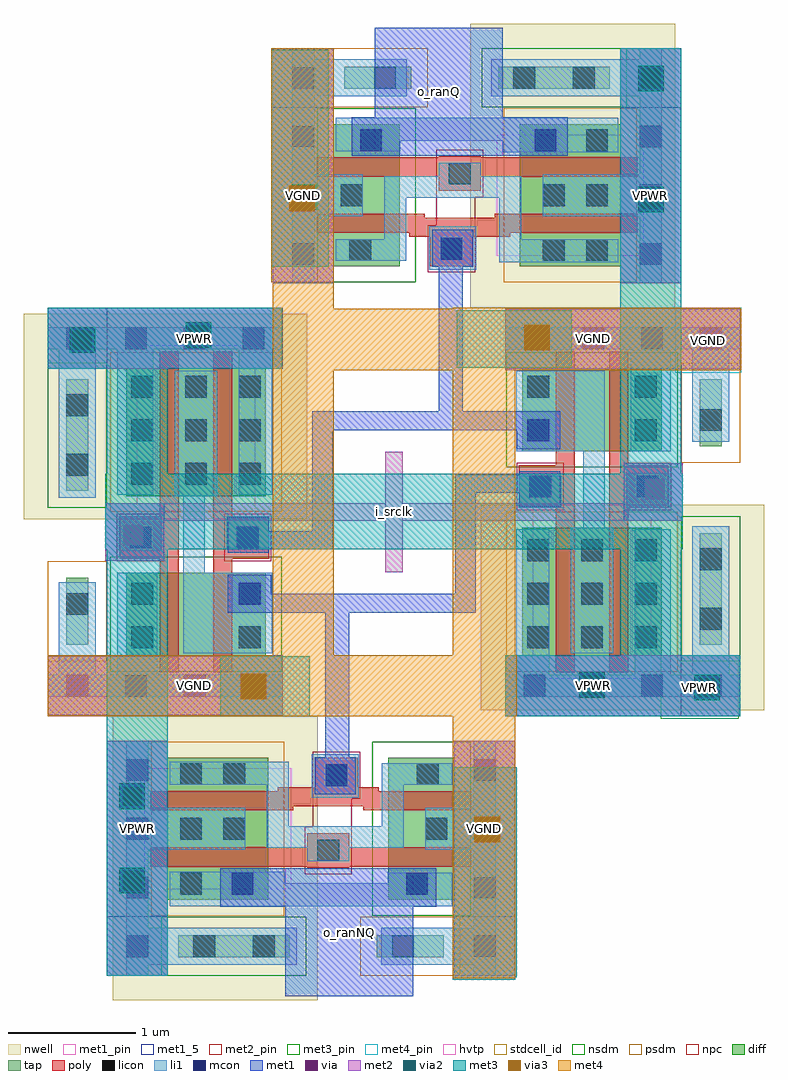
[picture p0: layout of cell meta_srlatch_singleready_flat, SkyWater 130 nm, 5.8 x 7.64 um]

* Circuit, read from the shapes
.subckt meta_srlatch_singleready_flat VGND VPWR i_srclk o_ranNQ o_ranQ
XM1 n1 i_srclk VGND VGND sky130_fd_pr__nfet_01v8 w=0.65 l=0.15
XM2 n2 n3 n1 VGND sky130_fd_pr__nfet_01v8 w=0.65 l=0.15
XM3 VGND n3 n4 VGND sky130_fd_pr__nfet_01v8 w=0.52 l=0.15
XM4 o_ranQ n4 VGND VGND sky130_fd_pr__nfet_01v8 w=0.52 l=0.15
XM5 VGND n5 o_ranNQ VGND sky130_fd_pr__nfet_01v8 w=0.52 l=0.15
XM6 n5 n2 VGND VGND sky130_fd_pr__nfet_01v8 w=0.52 l=0.15
XM7 n6 n2 n3 VGND sky130_fd_pr__nfet_01v8 w=0.65 l=0.15
XM8 VGND i_srclk n6 VGND sky130_fd_pr__nfet_01v8 w=0.65 l=0.15
XM9 n2 i_srclk VPWR VPWR sky130_fd_pr__pfet_01v8_hvt w=1 l=0.15
XM10 VPWR n5 o_ranNQ VPWR sky130_fd_pr__pfet_01v8_hvt w=0.79 l=0.15
XM11 n5 n2 VPWR VPWR sky130_fd_pr__pfet_01v8_hvt w=0.79 l=0.15
XM12 VPWR n3 n2 VPWR sky130_fd_pr__pfet_01v8_hvt w=1 l=0.15
XM13 VPWR n3 n4 VPWR sky130_fd_pr__pfet_01v8_hvt w=0.79 l=0.15
XM14 o_ranQ n4 VPWR VPWR sky130_fd_pr__pfet_01v8_hvt w=0.79 l=0.15
XM15 n3 n2 VPWR VPWR sky130_fd_pr__pfet_01v8_hvt w=1 l=0.15
XM16 VPWR i_srclk n3 VPWR sky130_fd_pr__pfet_01v8_hvt w=1 l=0.15
.ends

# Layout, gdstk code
import gdstk
lib = gdstk.Library(unit=1e-6, precision=1e-09)
def R(c, l, rs):  # rectangles x0, y0, x1, y1
    for r in rs: c.add(gdstk.rectangle(r[:2], r[2:], *l))
def A(c, l, x, y, w, h, nx, ny, dx, dy):  # array of equal rectangles
    R(c, l, [(x+i*dx, y+j*dy, x+i*dx+w, y+j*dy+h) for i in range(nx) for j in range(ny)])
nwell = (64, 20)
diff = (65, 20)
tap = (65, 44)
poly = (66, 20)
licon = (66, 44)
li1 = (67, 20)
mcon = (67, 44)
met1_5 = (68, 5)
met1_pin = (68, 16)
met1 = (68, 20)
via = (68, 44)
met2_pin = (69, 16)
met2 = (69, 20)
via2 = (69, 44)
met3_pin = (70, 16)
met3 = (70, 20)
via3 = (70, 44)
met4_pin = (71, 16)
met4 = (71, 20)
hvtp = (78, 44)
stdcell_id = (81, 4)
nsdm = (93, 44)
psdm = (94, 20)
npc = (95, 20)

meta_srlatch_singleready = lib.new_cell('meta_srlatch_singleready_flat')
R(meta_srlatch_singleready, nwell, [(-1.16,-0.25,0.445,1.97), (1.72,2.02,3.94,3.625), (-1.86,3.515,0.36,5.12), (1.635,5.17,3.24,7.39)])
R(meta_srlatch_singleready, diff, [(-0.735,0.535,0.055,1.645), (0.995,0.535,1.515,1.645), (-1.055,2.445,0.035,3.095), (2.045,2.445,3.135,3.445), (-1.055,3.695,0.035,4.695), (2.045,4.045,3.135,4.695), (0.565,5.495,1.085,6.605), (2.025,5.495,2.815,6.605)])
R(meta_srlatch_singleready, tap, [(-0.65,0.085,0.225,0.255), (0.905,0.085,1.43,0.255), (-1.525,2.53,-1.355,3.055), (3.435,2.53,3.605,3.405), (-1.525,3.735,-1.355,4.61), (3.435,4.085,3.605,4.61), (0.65,6.885,1.175,7.055), (1.855,6.885,2.73,7.055)])
R(meta_srlatch_singleready, poly, [(0.36,0.785,0.69,0.795), (-0.865,0.795,1.645,0.945), (0.36,0.945,0.69,1.055), (-0.865,1.235,0.25,1.265), (0.8,1.235,1.645,1.265), (-0.865,1.265,1.645,1.385), (0.13,1.385,0.92,1.415), (0.425,1.415,0.755,1.645), (-0.795,2.315,-0.645,3.205), (-0.375,2.315,-0.225,3.205), (2.305,2.315,2.455,3.605), (2.725,2.315,2.875,3.605), (-1.105,3.205,-0.645,3.535), (-0.375,3.205,0.065,3.535), (-0.795,3.535,-0.645,4.825), (-0.375,3.535,-0.225,4.825), (2.015,3.605,2.455,3.935), (2.725,3.605,3.185,3.935), (2.305,3.935,2.455,4.825), (2.725,3.935,2.875,4.825), (1.325,5.495,1.655,5.725), (1.16,5.725,1.95,5.755), (0.435,5.755,2.945,5.875), (0.435,5.875,1.28,5.905), (1.83,5.875,2.945,5.905), (1.39,6.085,1.72,6.195), (0.435,6.195,2.945,6.345), (1.39,6.345,1.72,6.355)])
A(meta_srlatch_singleready, licon, -0.635, 0.575, 0.17, 0.17, 1, 3, 0, 0.43)
A(meta_srlatch_singleready, licon, 2.085, 2.505, 0.17, 0.17, 3, 3, 0.42, 0.34)
A(meta_srlatch_singleready, licon, -1.015, 3.785, 0.17, 0.17, 3, 3, 0.42, 0.34)
A(meta_srlatch_singleready, licon, 2.545, 5.535, 0.17, 0.17, 1, 3, 0, 0.43)
R(meta_srlatch_singleready, licon, [(-0.53,0.085,-0.36,0.255), (-0.065,0.085,0.105,0.255), (1.025,0.085,1.195,0.255), (-0.23,0.575,-0.06,0.745), (1.135,0.575,1.305,0.745), (0.44,0.835,0.61,1.005), (-0.295,1.005,-0.125,1.175), (1.285,1.005,1.455,1.175), (0.505,1.425,0.675,1.595), (-0.295,1.435,-0.125,1.605), (1.22,1.435,1.39,1.605), (-1.015,2.505,-0.845,2.675), (-0.175,2.505,-0.005,2.675), (3.435,2.65,3.605,2.82), (-1.525,2.765,-1.355,2.935), (-1.015,2.845,-0.845,3.015), (-0.175,2.845,-0.005,3.015), (3.435,3.115,3.605,3.285), (-1.03,3.285,-0.86,3.455), (-0.19,3.285,-0.02,3.455), (2.1,3.685,2.27,3.855), (2.94,3.685,3.11,3.855), (-1.525,3.855,-1.355,4.025), (2.085,4.125,2.255,4.295), (2.925,4.125,3.095,4.295), (3.435,4.205,3.605,4.375), (-1.525,4.32,-1.355,4.49), (2.085,4.465,2.255,4.635), (2.925,4.465,3.095,4.635), (0.69,5.535,0.86,5.705), (2.205,5.535,2.375,5.705), (1.405,5.545,1.575,5.715), (0.625,5.965,0.795,6.135), (2.205,5.965,2.375,6.135), (1.47,6.135,1.64,6.305), (0.775,6.395,0.945,6.565), (2.14,6.395,2.31,6.565), (0.885,6.885,1.055,7.055), (1.975,6.885,2.145,7.055), (2.44,6.885,2.61,7.055)])
R(meta_srlatch_singleready, li1, [(-1.055,-0.06,-0.885,0.025), (1.665,-0.06,1.835,0.025), (-1.055,0.025,0.28,0.315), (0.94,0.025,1.835,0.315), (-1.055,0.315,-0.885,0.925), (1.665,0.315,1.835,0.925), (-0.715,0.485,1.495,0.665), (-0.715,0.665,0.19,0.755), (0.99,0.665,1.495,0.745), (0.36,0.835,0.69,0.94), (-1.055,0.925,-0.125,1.255), (1.285,0.925,1.835,1.255), (0.045,0.94,1.115,1.11), (0.045,1.11,0.215,1.435), (0.945,1.11,1.115,1.435), (-1.055,1.255,-0.885,1.78), (1.665,1.255,1.835,1.78), (0.395,1.335,0.765,1.675), (-0.715,1.435,0.215,1.615), (0.945,1.435,1.495,1.605), (-1.67,2.125,0.17,2.295), (1.91,2.125,3.75,2.295), (-1.585,2.295,-1.295,3.02), (-1.125,2.295,-0.815,3.095), (1.995,2.295,2.255,3.435), (2.925,2.295,3.205,3.435), (3.375,2.295,3.665,3.46), (-0.61,2.465,0.085,3.095), (2.425,2.465,2.755,3.445), (-0.61,3.095,-0.44,3.695), (-1.115,3.265,-0.78,3.535), (-0.27,3.285,0.065,3.535), (2.52,3.445,2.69,4.045), (2.015,3.605,2.35,3.855), (2.86,3.605,3.195,3.875), (-1.585,3.68,-1.295,4.845), (-0.675,3.695,-0.345,4.675), (-1.125,3.705,-0.845,4.845), (-0.175,3.705,0.085,4.845), (1.995,4.045,2.69,4.675), (2.895,4.045,3.205,4.845), (3.375,4.12,3.665,4.845), (-1.67,4.845,0.17,5.015), (1.91,4.845,3.75,5.015), (0.245,5.36,0.415,5.885), (2.965,5.36,3.135,5.885), (1.315,5.465,1.685,5.805), (1.865,5.525,2.795,5.705), (0.585,5.535,1.135,5.705), (0.965,5.705,1.135,6.03), (1.865,5.705,2.035,6.03), (0.245,5.885,0.795,6.215), (2.205,5.885,3.135,6.215), (0.965,6.03,2.035,6.2), (1.39,6.2,1.72,6.305), (0.245,6.215,0.415,6.825), (2.965,6.215,3.135,6.825), (1.89,6.385,2.795,6.475), (0.585,6.395,1.09,6.475), (0.585,6.475,2.795,6.655), (0.245,6.825,1.14,7.115), (1.8,6.825,3.135,7.115), (0.245,7.115,0.415,7.2), (2.965,7.115,3.135,7.2)])
A(meta_srlatch_singleready, mcon, -1.055, 0.085, 0.17, 0.17, 1, 4, 0, 0.46)
A(meta_srlatch_singleready, mcon, 1.665, 0.085, 0.17, 0.17, 1, 4, 0, 0.46)
A(meta_srlatch_singleready, mcon, -1.525, 2.125, 0.17, 0.17, 4, 2, 0.46, 2.72)
A(meta_srlatch_singleready, mcon, 2.055, 2.125, 0.17, 0.17, 4, 2, 0.46, 2.72)
A(meta_srlatch_singleready, mcon, 0.245, 5.505, 0.17, 0.17, 1, 4, 0, 0.46)
A(meta_srlatch_singleready, mcon, 2.965, 5.505, 0.17, 0.17, 1, 4, 0, 0.46)
R(meta_srlatch_singleready, mcon, [(-0.23,0.575,-0.06,0.745), (1.135,0.575,1.305,0.745), (0.505,1.425,0.675,1.595), (-0.175,2.845,-0.005,3.015), (-1.03,3.285,-0.86,3.455), (-0.19,3.285,-0.02,3.455), (2.1,3.685,2.27,3.855), (2.94,3.685,3.11,3.855), (2.085,4.125,2.255,4.295), (1.405,5.545,1.575,5.715), (0.775,6.395,0.945,6.565), (2.14,6.395,2.31,6.565)])
R(meta_srlatch_singleready, met1_5, [(-1.21,0.4,-0.73,1.78), (1.51,0.4,1.99,1.78), (-1.21,1.97,0.17,2.45), (1.91,1.97,3.29,2.45), (-1.21,4.69,0.17,5.17), (1.91,4.69,3.29,5.17), (0.09,5.36,0.57,6.74), (2.81,5.36,3.29,6.74)])
R(meta_srlatch_singleready, met1_pin, [(0.19,-0.22,1.19,0.78), (0.89,6.36,1.89,7.36)])
R(meta_srlatch_singleready, met1, [(0.19,-0.22,1.19,0.48), (-1.21,-0.06,-0.73,1.78), (1.51,-0.06,1.99,1.78), (-0.32,0.48,1.37,0.78), (0.42,1.36,0.74,1.65), (0.5,1.65,0.69,2.78), (-1.67,1.97,0.17,2.45), (1.91,1.97,3.75,2.45), (-0.26,2.78,1.68,2.93), (-0.26,2.93,0.08,3.08), (1.52,2.93,1.68,3.72), (-1.22,3.19,-0.76,3.64), (-0.26,3.25,0.06,3.28), (-0.26,3.28,0.56,3.42), (-0.26,3.42,0.06,3.53), (0.4,3.42,0.56,4.21), (2.84,3.5,3.3,3.95), (2.02,3.61,2.34,3.72), (1.52,3.72,2.34,3.86), (2.02,3.86,2.34,3.89), (2,4.06,2.34,4.21), (0.4,4.21,2.34,4.36), (1.39,4.36,1.58,5.49), (-1.67,4.69,0.17,5.17), (1.91,4.69,3.75,5.17), (0.09,5.36,0.57,7.2), (2.81,5.36,3.29,7.2), (1.34,5.49,1.66,5.78), (0.71,6.36,2.4,6.66), (0.89,6.66,1.89,7.36)])
R(meta_srlatch_singleready, via, [(-1.085,0.61,-0.935,0.76), (1.695,1.01,1.845,1.16), (-1.085,1.27,-0.935,1.42), (3.415,2.12,3.565,2.27), (-0.145,2.13,0.005,2.28), (2.515,2.14,2.665,2.29), (-1.075,3.315,-0.925,3.465), (3.005,3.675,3.155,3.825), (-1.475,4.84,-1.325,4.99), (2.085,4.86,2.235,5.01), (-0.565,4.88,-0.415,5.03), (2.975,5.94,3.125,6.09), (0.265,5.96,0.415,6.11), (2.975,6.89,3.125,7.04)])
R(meta_srlatch_singleready, met2_pin, [(0.97,3.1,1.11,4.04)])
R(meta_srlatch_singleready, met2, [(1.5,-0.08,1.99,1.78), (-1.21,-0.06,-0.73,1.78), (1.91,1.97,3.75,2.45), (-1.67,1.98,0.17,2.44), (0.97,3.1,1.11,3.5), (-1.22,3.19,-0.76,3.5), (-1.22,3.5,3.3,3.64), (0.97,3.64,1.11,4.04), (2.84,3.64,3.3,3.95), (1.91,4.68,3.76,5.16), (-1.67,4.69,0.16,5.17), (2.81,5.36,3.29,7.2), (0.08,5.37,0.57,7.2)])
R(meta_srlatch_singleready, via2, [(-1.11,0.585,-0.91,0.785), (1.67,0.985,1.87,1.185), (-1.11,1.245,-0.91,1.445), (3.39,2.095,3.59,2.295), (-0.16,2.105,0.04,2.305), (2.49,2.115,2.69,2.315), (-1.5,4.815,-1.3,5.015), (2.06,4.835,2.26,5.035), (-0.59,4.855,-0.39,5.055), (2.95,5.915,3.15,6.115), (0.24,5.935,0.44,6.135), (2.95,6.865,3.15,7.065)])
R(meta_srlatch_singleready, met3_pin, [(3.13,1.95,3.74,2.45)])
R(meta_srlatch_singleready, met3, [(1.5,-0.09,1.99,-0.07), (1.5,-0.07,2,1.55), (-1.21,-0.06,-0.73,3.28), (1.51,1.55,2,1.57), (-0.32,1.97,0.38,2.44), (1.91,1.97,3.75,2.45), (2.81,2.45,3.29,3.28), (-1.22,3.28,3.3,3.87), (-1.21,3.87,-0.73,4.69), (2.81,3.87,3.29,7.2), (-1.67,4.69,0.16,5.17), (1.53,4.7,2.43,5.15), (0.08,5.49,0.53,7.19)])
R(meta_srlatch_singleready, via3, [(1.67,0.985,1.87,1.185), (-0.16,2.105,0.04,2.305), (2.06,4.835,2.26,5.035), (0.22,5.925,0.42,6.125)])
R(meta_srlatch_singleready, met4_pin, [(3.24,4.66,3.76,5.17)])
R(meta_srlatch_singleready, met4, [(1.5,-0.08,1.99,1.97), (-1.67,1.97,2,2.45), (0.09,2.45,0.57,4.68), (1.5,2.45,1.99,4.68), (0.09,4.68,3.76,5.16), (0.09,5.16,0.57,5.37), (1.5,5.16,3.75,5.17), (0.08,5.37,0.57,7.2)])
R(meta_srlatch_singleready, hvtp, [(-0.915,0.615,0.235,1.565), (2.125,2.265,3.055,3.625), (-0.975,3.515,-0.045,4.875), (1.845,5.575,2.995,6.525)])
R(meta_srlatch_singleready, stdcell_id, [(0.995,0.795,1.515,0.945), (0.995,1.235,1.515,1.385), (-0.795,2.445,-0.645,3.095), (-0.375,2.445,-0.225,3.095), (2.305,4.045,2.455,4.695), (2.725,4.045,2.875,4.695), (0.565,5.755,1.085,5.905), (0.565,6.195,1.085,6.345)])
R(meta_srlatch_singleready, nsdm, [(-0.78,-0.06,0.355,0.4), (0.87,0.41,1.64,1.77), (-1.18,2.32,0.16,3.22), (3.29,2.4,3.75,3.535), (-1.67,3.605,-1.21,4.74), (1.92,3.92,3.26,4.82), (0.44,5.37,1.21,6.73), (1.725,6.74,2.86,7.2)])
R(meta_srlatch_singleready, psdm, [(0.775,-0.06,1.56,0.4), (-0.86,0.41,0.18,1.77), (1.92,2.32,3.26,3.57), (-1.67,2.4,-1.21,3.185), (-1.18,3.57,0.16,4.82), (3.29,3.955,3.75,4.74), (1.9,5.37,2.94,6.73), (0.52,6.74,1.305,7.2)])
R(meta_srlatch_singleready, npc, [(0.34,0.735,0.71,1.105), (0.405,1.105,0.71,1.325), (0.405,1.325,0.775,1.695), (-1.13,3.185,-0.76,3.555), (-0.29,3.185,0.08,3.555), (2,3.585,2.37,3.955), (2.84,3.585,3.21,3.955), (1.305,5.445,1.675,5.815), (1.37,5.815,1.675,6.035), (1.37,6.035,1.74,6.405)])
meta_srlatch_singleready.add(gdstk.Label('VPWR', (-0.52,4.93), layer=68, texttype=5))
meta_srlatch_singleready.add(gdstk.Label('VPWR', (3.05,6.05), layer=68, texttype=5))
meta_srlatch_singleready.add(gdstk.Label('VGND', (0.33,6.05), layer=68, texttype=5))
meta_srlatch_singleready.add(gdstk.Label('VGND', (2.6,4.93), layer=68, texttype=5))
meta_srlatch_singleready.add(gdstk.Label('VGND', (-0.52,2.21), layer=68, texttype=5))
meta_srlatch_singleready.add(gdstk.Label('VPWR', (2.6,2.21), layer=68, texttype=5))
meta_srlatch_singleready.add(gdstk.Label('VGND', (1.75,1.09), layer=68, texttype=5))
meta_srlatch_singleready.add(gdstk.Label('VPWR', (-0.97,1.09), layer=68, texttype=5))
meta_srlatch_singleready.add(gdstk.Label('i_srclk', (1.04,3.57), layer=69, texttype=5))
meta_srlatch_singleready.add(gdstk.Label('o_ranQ', (1.39,6.86), layer=68, texttype=5))
meta_srlatch_singleready.add(gdstk.Label('o_ranNQ', (0.69,0.28), layer=68, texttype=5))
meta_srlatch_singleready.add(gdstk.Label('VPWR', (3.435,2.2), layer=70, texttype=5))
meta_srlatch_singleready.add(gdstk.Label('VGND', (3.5,4.915), layer=71, texttype=5))

lib.write_gds('meta_srlatch_singleready_flat.gds')
